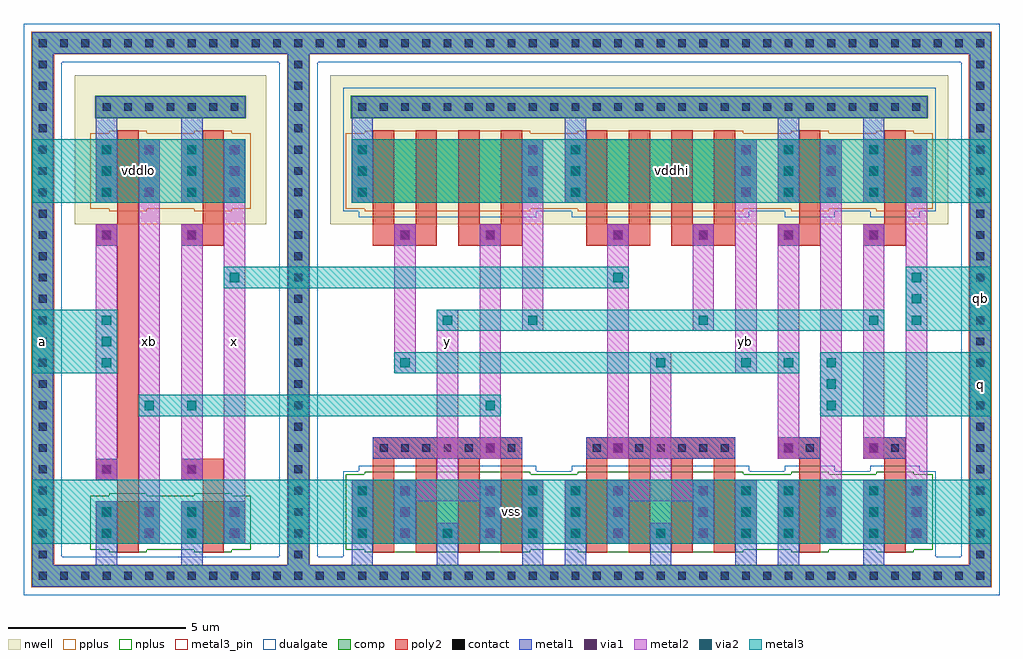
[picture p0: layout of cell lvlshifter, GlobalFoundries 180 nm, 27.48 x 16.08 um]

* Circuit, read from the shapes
.subckt lvlshifter a q qb vddhi vddlo vss x xb y yb
XM1 xb a vss vss nfet_03v3 w=1.2u l=0.6u
XM2 x xb vss vss nfet_03v3 w=1.2u l=0.6u
XM3 y xb vss vss nfet_06v0 w=1.8u l=0.6u m=4
XM4 yb x vss vss nfet_06v0 w=1.8u l=0.6u m=4
XM5 q yb vss vss nfet_06v0 w=1.8u l=0.6u
XM6 qb y vss vss nfet_06v0 w=1.8u l=0.6u
XM7 xb a vddlo vddlo pfet_03v3 w=1.8u l=0.6u
XM8 x xb vddlo vddlo pfet_03v3 w=1.8u l=0.6u
XM9 n1 yb vddhi vddhi pfet_06v0 w=1.8u l=0.6u
XM10 n2 yb n1 vddhi pfet_06v0 w=1.8u l=0.6u
XM11 n3 xb n2 vddhi pfet_06v0 w=1.8u l=0.6u
XM12 y xb n3 vddhi pfet_06v0 w=1.8u l=0.6u
XM13 n4 x vddhi vddhi pfet_06v0 w=1.8u l=0.6u
XM14 n5 x n4 vddhi pfet_06v0 w=1.8u l=0.6u
XM15 n6 y n5 vddhi pfet_06v0 w=1.8u l=0.6u
XM16 yb y n6 vddhi pfet_06v0 w=1.8u l=0.6u
XM17 q yb vddhi vddhi pfet_06v0 w=1.8u l=0.6u
XM18 qb y vddhi vddhi pfet_06v0 w=1.8u l=0.6u
.ends

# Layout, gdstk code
import gdstk
lib = gdstk.Library(unit=1e-6, precision=1e-09)
def R(c, l, rs):  # rectangles x0, y0, x1, y1
    for r in rs: c.add(gdstk.rectangle(r[:2], r[2:], *l))
def A(c, l, x, y, w, h, nx, ny, dx, dy):  # array of equal rectangles
    R(c, l, [(x+i*dx, y+j*dy, x+i*dx+w, y+j*dy+h) for i in range(nx) for j in range(ny)])
nwell = (21, 0)
comp = (22, 0)
poly2 = (30, 0)
pplus = (31, 0)
nplus = (32, 0)
contact = (33, 0)
metal1 = (34, 0)
via1 = (35, 0)
metal2 = (36, 0)
via2 = (38, 0)
metal3 = (42, 0)
metal3_pin = (42, 10)
dualgate = (55, 0)

lvlshifter = lib.new_cell('lvlshifter')
R(lvlshifter, nwell, [(-0.6,9.6,4.8,13.8), (6.6,9.6,24,13.8)])
R(lvlshifter, comp, [(-1.8,-0.6,25.2,0), (-1.8,0,-1.2,14.4), (5.4,0,6,14.4), (24.6,0,25.2,14.4), (0,0.6,1.8,1.8), (2.4,0.6,4.2,1.8), (7.2,0.6,12.6,2.4), (13.2,0.6,18.6,2.4), (19.2,0.6,21,2.4), (21.6,0.6,23.4,2.4), (0,10.2,1.8,12), (2.4,10.2,4.2,12), (7.2,10.2,12.6,12), (13.2,10.2,18.6,12), (19.2,10.2,21,12), (21.6,10.2,23.4,12), (0,12.6,4.2,13.2), (7.2,12.6,23.4,13.2), (-1.8,14.4,25.2,15)])
A(lvlshifter, poly2, 7.8, 0.35, 0.6, 2.65, 4, 2, 1.2, 9.25)
A(lvlshifter, poly2, 13.8, 0.35, 0.6, 2.65, 4, 2, 1.2, 9.25)
R(lvlshifter, poly2, [(0.6,0.35,1.2,2.4), (3,0.35,3.6,2.4), (19.8,0.35,20.4,3), (22.2,0.35,22.8,3), (0,2.4,1.2,3), (2.4,2.4,3.6,3), (0.6,3,1.2,9), (7.8,3,12,3.6), (13.8,3,18,3.6), (19.2,3,20.4,3.6), (21.6,3,22.8,3.6), (0,9,1.2,9.6), (2.4,9,3.6,9.6), (7.8,9,9.6,9.6), (10.2,9,12,9.6), (13.8,9,15.6,9.6), (16.2,9,18,9.6), (19.2,9,20.4,9.6), (21.6,9,22.8,9.6), (0.6,9.6,1.2,12.25), (3,9.6,3.6,12.25), (19.8,9.6,20.4,12.25), (22.2,9.6,22.8,12.25)])
R(lvlshifter, pplus, [(-1.82,-0.62,25.22,0.02), (-1.82,0.02,-1.18,14.38), (5.38,0.02,6.02,14.38), (24.58,0.02,25.22,14.38), (0.37,9.97,1.43,10.04), (2.77,9.97,3.83,10.04), (7.57,9.97,12.23,10.04), (13.57,9.97,18.23,10.04), (19.57,9.97,20.63,10.04), (21.97,9.97,23.03,10.04), (-0.16,10.04,4.36,12.16), (7.04,10.04,23.56,12.16), (0.37,12.16,1.43,12.23), (2.77,12.16,3.83,12.23), (7.57,12.16,12.23,12.23), (13.57,12.16,18.23,12.23), (19.57,12.16,20.63,12.23), (21.97,12.16,23.03,12.23), (-1.82,14.38,25.22,15.02)])
R(lvlshifter, nplus, [(0.37,0.37,1.43,0.44), (2.77,0.37,3.83,0.44), (7.57,0.37,12.23,0.44), (13.57,0.37,18.23,0.44), (19.57,0.37,20.63,0.44), (21.97,0.37,23.03,0.44), (-0.16,0.44,4.36,1.96), (7.04,0.44,23.56,2.56), (0.37,1.96,1.43,2.03), (2.77,1.96,3.83,2.03), (7.57,2.56,12.23,2.63), (13.57,2.56,18.23,2.63), (19.57,2.56,20.63,2.63), (21.97,2.56,23.03,2.63), (-0.02,12.58,4.22,13.22), (7.18,12.58,23.42,13.22)])
A(lvlshifter, contact, -1.61, -0.41, 0.22, 0.22, 45, 2, 0.6, 15)
A(lvlshifter, contact, -1.61, 0.19, 0.22, 0.22, 1, 24, 0, 0.6)
A(lvlshifter, contact, 5.59, 0.19, 0.22, 0.22, 1, 15, 0, 0.6)
A(lvlshifter, contact, 24.79, 0.19, 0.22, 0.22, 1, 24, 0, 0.6)
A(lvlshifter, contact, 0.19, 0.79, 0.22, 0.22, 4, 2, 1.2, 0.6)
A(lvlshifter, contact, 7.39, 0.79, 0.22, 0.22, 14, 1, 1.2, 0)
A(lvlshifter, contact, 10.99, 1.39, 0.22, 0.22, 4, 2, 1.2, 0.6)
A(lvlshifter, contact, 16.99, 1.39, 0.22, 0.22, 6, 2, 1.2, 0.6)
A(lvlshifter, contact, 7.99, 3.19, 0.22, 0.22, 7, 1, 0.6, 0)
A(lvlshifter, contact, 13.99, 3.19, 0.22, 0.22, 7, 1, 0.6, 0)
A(lvlshifter, contact, 2.59, 9.19, 0.22, 0.22, 3, 1, 3, 0)
A(lvlshifter, contact, 14.59, 9.19, 0.22, 0.22, 4, 1, 2.4, 0)
A(lvlshifter, contact, 5.59, 9.79, 0.22, 0.22, 1, 8, 0, 0.6)
A(lvlshifter, contact, 0.19, 10.39, 0.22, 0.22, 4, 3, 1.2, 0.6)
A(lvlshifter, contact, 7.39, 10.39, 0.22, 0.22, 1, 3, 0, 0.6)
A(lvlshifter, contact, 12.19, 10.39, 0.22, 0.22, 1, 3, 0, 0.6)
A(lvlshifter, contact, 13.39, 10.39, 0.22, 0.22, 1, 3, 0, 0.6)
A(lvlshifter, contact, 18.19, 10.39, 0.22, 0.22, 5, 3, 1.2, 0.6)
A(lvlshifter, contact, 0.19, 12.79, 0.22, 0.22, 7, 1, 0.6, 0)
A(lvlshifter, contact, 7.39, 12.79, 0.22, 0.22, 27, 1, 0.6, 0)
R(lvlshifter, contact, [(7.39,1.39,7.61,1.61), (8.59,1.39,8.81,1.61), (7.39,1.99,7.61,2.21), (8.59,1.99,8.81,2.21), (0.19,2.59,0.41,2.81), (2.59,2.59,2.81,2.81), (19.39,3.19,19.61,3.41), (19.99,3.19,20.21,3.41), (21.79,3.19,22.01,3.41), (22.39,3.19,22.61,3.41), (0.19,9.19,0.41,9.41), (10.99,9.19,11.21,9.41)])
A(lvlshifter, metal1, 14.4, 9, 0.6, 0.6, 4, 1, 2.4, 0)
A(lvlshifter, metal1, 7.2, 10.2, 0.6, 2.4, 3, 1, 6, 0)
A(lvlshifter, metal1, 18, 10.2, 0.6, 1.8, 3, 1, 2.4, 0)
R(lvlshifter, metal1, [(-1.8,-0.6,25.2,0), (-1.8,0,-1.2,14.4), (0,0,0.6,1.8), (2.4,0,3,1.8), (5.4,0,6,14.4), (7.2,0,7.8,2.4), (9.6,0,10.2,1.2), (12,0,12.6,2.4), (13.2,0,13.8,2.4), (15.6,0,16.2,1.2), (18,0,18.6,2.4), (19.2,0,19.8,2.4), (21.6,0,22.2,2.4), (24.6,0,25.2,14.4), (1.2,0.6,1.8,1.8), (3.6,0.6,4.2,1.8), (8.4,0.6,9,2.4), (10.8,0.6,11.4,2.4), (14.4,0.6,15,2.4), (16.8,0.6,17.4,2.4), (20.4,0.6,21,2.4), (22.8,0.6,23.4,2.4), (0,2.4,0.6,3), (2.4,2.4,3,3), (7.8,3,12,3.6), (13.8,3,18,3.6), (19.2,3,20.4,3.6), (21.6,3,22.8,3.6), (0,9,0.6,9.6), (2.4,9,3,9.6), (8.4,9,9,9.6), (10.8,9,11.4,9.6), (0,10.2,0.6,12.6), (1.2,10.2,1.8,12), (2.4,10.2,3,12.6), (3.6,10.2,4.2,12), (12,10.2,12.6,12), (21.6,10.2,22.2,12.6), (0,12.6,4.2,13.2), (7.2,12.6,23.4,13.2), (-1.8,14.4,25.2,15)])
A(lvlshifter, via1, 0.17, 0.77, 0.26, 0.26, 4, 2, 1.2, 0.6)
A(lvlshifter, via1, 7.37, 0.77, 0.26, 0.26, 14, 1, 1.2, 0)
A(lvlshifter, via1, 10.97, 1.37, 0.26, 0.26, 4, 2, 1.2, 0.6)
A(lvlshifter, via1, 16.97, 1.37, 0.26, 0.26, 6, 2, 1.2, 0.6)
A(lvlshifter, via1, 14.57, 9.17, 0.26, 0.26, 4, 1, 2.4, 0)
A(lvlshifter, via1, 0.17, 10.37, 0.26, 0.26, 4, 3, 1.2, 0.6)
A(lvlshifter, via1, 7.37, 10.37, 0.26, 0.26, 1, 3, 0, 0.6)
A(lvlshifter, via1, 12.17, 10.37, 0.26, 0.26, 1, 3, 0, 0.6)
A(lvlshifter, via1, 13.37, 10.37, 0.26, 0.26, 1, 3, 0, 0.6)
A(lvlshifter, via1, 18.17, 10.37, 0.26, 0.26, 5, 3, 1.2, 0.6)
R(lvlshifter, via1, [(7.37,1.37,7.63,1.63), (8.57,1.37,8.83,1.63), (7.37,1.97,7.63,2.23), (8.57,1.97,8.83,2.23), (0.17,2.57,0.43,2.83), (2.57,2.57,2.83,2.83), (10.97,3.17,11.23,3.43), (14.57,3.17,14.83,3.43), (19.37,3.17,19.63,3.43), (21.77,3.17,22.03,3.43), (0.17,9.17,0.43,9.43), (2.57,9.17,2.83,9.43), (8.57,9.17,8.83,9.43), (10.97,9.17,11.23,9.43)])
A(lvlshifter, metal2, 7.2, 10.2, 0.6, 1.8, 3, 1, 6, 0)
R(lvlshifter, metal2, [(0,0.6,0.6,1.8), (1.2,0.6,1.8,12), (2.4,0.6,3,1.8), (3.6,0.6,4.2,12), (7.2,0.6,7.8,2.4), (8.4,0.6,9,1.8), (9.6,0.6,10.2,1.2), (10.8,0.6,11.4,1.8), (12,0.6,12.6,2.4), (13.2,0.6,13.8,2.4), (14.4,0.6,15,1.8), (15.6,0.6,16.2,1.2), (16.8,0.6,17.4,1.8), (18,0.6,18.6,2.4), (19.2,0.6,19.8,2.4), (20.4,0.6,21,12), (21.6,0.6,22.2,2.4), (22.8,0.6,23.4,12), (8.4,1.8,11.4,2.4), (14.4,1.8,17.4,2.4), (0,2.4,0.6,9.6), (2.4,2.4,3,9.6), (9.6,2.4,10.2,7.2), (15.6,2.4,16.2,6), (10.8,3,11.4,9.6), (14.4,3,15,9.6), (19.2,3,19.8,9.6), (21.6,3,22.2,9.6), (8.4,5.4,9,9.6), (18,5.4,18.6,12), (12,6.6,12.6,12), (16.8,6.6,17.4,9.6), (0,10.2,0.6,12), (2.4,10.2,3,12), (21.6,10.2,22.2,12)])
A(lvlshifter, via2, 7.37, 0.77, 0.26, 0.26, 3, 1, 2.4, 0)
A(lvlshifter, via2, 13.37, 0.77, 0.26, 0.26, 3, 1, 2.4, 0)
A(lvlshifter, via2, 19.37, 0.77, 0.26, 0.26, 1, 3, 0, 0.6)
A(lvlshifter, via2, 21.77, 0.77, 0.26, 0.26, 1, 3, 0, 0.6)
A(lvlshifter, via2, 2.57, 1.37, 0.26, 0.26, 3, 1, 4.8, 0)
A(lvlshifter, via2, 0.17, 5.57, 0.26, 0.26, 1, 3, 0, 0.6)
A(lvlshifter, via2, 18.17, 5.57, 0.26, 0.26, 3, 1, 1.2, 0)
A(lvlshifter, via2, 12.17, 6.77, 0.26, 0.26, 3, 1, 4.8, 0)
A(lvlshifter, via2, 22.97, 6.77, 0.26, 0.26, 1, 3, 0, 0.6)
A(lvlshifter, via2, 0.17, 10.37, 0.26, 0.26, 1, 3, 0, 0.6)
A(lvlshifter, via2, 2.57, 10.37, 0.26, 0.26, 1, 3, 0, 0.6)
A(lvlshifter, via2, 7.37, 10.37, 0.26, 0.26, 3, 3, 6, 0.6)
A(lvlshifter, via2, 21.77, 10.37, 0.26, 0.26, 1, 3, 0, 0.6)
R(lvlshifter, via2, [(0.17,0.77,0.43,1.03), (2.57,0.77,2.83,1.03), (0.17,1.37,0.43,1.63), (13.37,1.37,13.63,1.63), (18.17,1.37,18.43,1.63), (7.37,1.97,7.63,2.23), (12.17,1.97,12.43,2.23), (13.37,1.97,13.63,2.23), (18.17,1.97,18.43,2.23), (1.37,4.37,1.63,4.63), (2.57,4.37,2.83,4.63), (10.97,4.37,11.23,4.63), (20.57,4.37,20.83,4.63), (20.57,4.97,20.83,5.23), (8.57,5.57,8.83,5.83), (15.77,5.57,16.03,5.83), (9.77,6.77,10.03,7.03), (3.77,7.97,4.03,8.23), (14.57,7.97,14.83,8.23)])
R(lvlshifter, metal3, [(-1.8,0.6,25.2,2.4), (1.2,4.2,11.4,4.8), (20.4,4.2,25.2,6), (-1.8,5.4,0.6,7.2), (8.4,5.4,19.8,6), (9.6,6.6,22.2,7.2), (22.8,6.6,25.2,8.4), (3.6,7.8,15,8.4), (-1.8,10.2,4.2,12), (7.2,10.2,25.2,12)])
R(lvlshifter, metal3_pin, [(-1.8,0.6,25.2,2.4), (24.6,4.2,25.2,6), (-1.8,5.4,-1.2,7.2), (24.6,6.6,25.2,8.4), (-1.8,10.2,4.2,12), (7.2,10.2,25.2,12)])
R(lvlshifter, dualgate, [(-2.04,-0.84,25.44,0.24), (-2.04,0.24,-0.96,14.16), (5.16,0.24,6.24,14.16), (6.96,0.24,23.64,2.64), (24.36,0.24,25.44,14.16), (7.4,2.64,12.4,2.8), (13.4,2.64,18.4,2.8), (19.4,2.64,20.8,2.8), (21.8,2.64,23.2,2.8), (7.4,9.8,12.4,9.96), (13.4,9.8,18.4,9.96), (19.4,9.8,20.8,9.96), (21.8,9.8,23.2,9.96), (6.96,9.96,23.64,13.44), (-2.04,14.16,25.44,15.24)])
lvlshifter.add(gdstk.Label('xb', (1.5,6.3), layer=36, texttype=0))
lvlshifter.add(gdstk.Label('x', (3.9,6.3), layer=36, texttype=0))
lvlshifter.add(gdstk.Label('y', (9.9,6.3), layer=36, texttype=0))
lvlshifter.add(gdstk.Label('yb', (18.3,6.3), layer=36, texttype=0))
lvlshifter.add(gdstk.Label('a', (-1.5,6.3), layer=42, texttype=10))
lvlshifter.add(gdstk.Label('q', (24.9,5.1), layer=42, texttype=10))
lvlshifter.add(gdstk.Label('qb', (24.9,7.5), layer=42, texttype=10))
lvlshifter.add(gdstk.Label('vddlo', (1.2,11.1), layer=42, texttype=10))
lvlshifter.add(gdstk.Label('vddhi', (16.2,11.1), layer=42, texttype=10))
lvlshifter.add(gdstk.Label('vss', (11.7,1.5), layer=42, texttype=10))

lib.write_gds('lvlshifter.gds')
